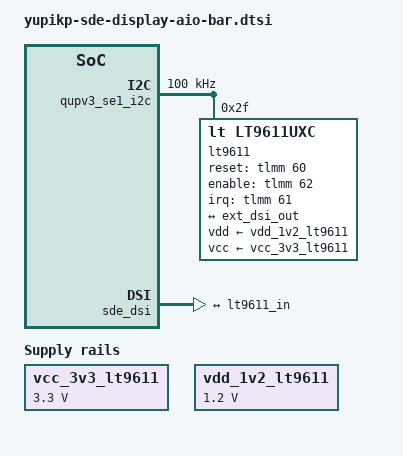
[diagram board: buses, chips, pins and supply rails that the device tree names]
// SPDX-License-Identifier: BSD-3-Clause
/*
 * Copyright (c) Qualcomm Technologies, Inc. and/or its subsidiaries.
 */

#include "yupik-sde-display.dtsi"

/*==============================*/
/*     Display Related Start    */
/*==============================*/

&soc {
	vcc_3v3_lt9611: regulator-vcc-3v3-lt9611 {
		compatible = "regulator-fixed";
		regulator-name = "vcc_3v3_lt9611";
		regulator-min-microvolt = <3300000>;
		regulator-max-microvolt = <3300000>;
	};

	vdd_1v2_lt9611: regulator-vdd-1v2-lt9611 {
		compatible = "regulator-fixed";
		regulator-name = "vdd_1v2_lt9611";
		regulator-min-microvolt = <1200000>;
		regulator-max-microvolt = <1200000>;
	};
};

&qupv3_se1_i2c {
	clock-frequency = <100000>;
	status = "okay";

	lt9611: lt,lt9611@2f {
		compatible = "lt,lt9611uxc";
		reg = <0x2f>;

		interrupt-names = "lt_irq";
		interrupts-extended = <&tlmm 61 0x0>;
		reset-gpios = <&tlmm 60 0>;
		enable-gpios = <&tlmm 62 0>;

		vdd-supply = <&vdd_1v2_lt9611>;
		vcc-supply = <&vcc_3v3_lt9611>;

		lt,reset-gpio-active-high;
		lt,preferred-mode = "3840x2160";

		ports {
			#address-cells = <1>;
			#size-cells = <0>;

			port@0 {
				reg = <0>;

				lt9611_in: endpoint {
					remote-endpoint = <&ext_dsi_out>;
				};
			};
		};
	};
};

&dsi_ext_bridge_1080p {
	qcom,mdss-dsi-ext-bridge-hpd;
};

&dsi_ext_bridge_4k30p {
	qcom,mdss-dsi-ext-bridge-hpd;
	qcom,dsi-select-clocks = "pll_byte_clk0", "pll_dsi_clk0";
};

&sde_dsi {
	/delete-property/ lab-supply;
	/delete-property/ ibb-supply;

	qcom,dsi-default-panel = <&dsi_ext_bridge_4k30p>;
	boot-panel-param = "disabled";

	ports {
		#address-cells = <1>;
		#size-cells = <0>;

		port@0 {
			reg = <0>;
			ext_dsi_out: endpoint {
				remote-endpoint = <&lt9611_in>;
			};
		};
	};
};

&fsa4480 {
	status = "disabled";
};

&sde_wb {
	status = "disabled";
};

&mdss_mdp {
	connectors = <&smmu_sde_unsec &smmu_sde_sec &sde_dsi &sde_rscc>;
};
